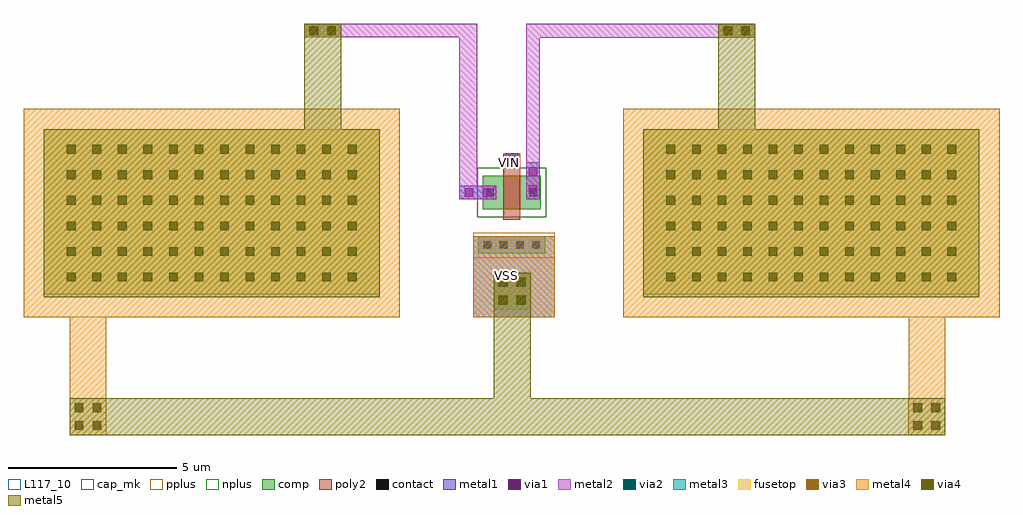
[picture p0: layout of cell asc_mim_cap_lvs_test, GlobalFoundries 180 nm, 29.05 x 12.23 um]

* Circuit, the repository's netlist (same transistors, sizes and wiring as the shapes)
* Extracted by KLayout with GF180MCU LVS runset on : 26/08/2025 02:53

.SUBCKT asc_mim_cap_lvs_test VSS S D VIN
M$1 D VIN S VSS nfet_03v3 L=0.5U W=1U AS=0.61P AD=0.61P PS=3.22U PD=3.22U
C$2 S \$7 1e-13 cap_mim_2f0_m5m6_noshield A=50P P=30U
C$3 D \$8 1e-13 cap_mim_2f0_m5m6_noshield A=50P P=30U
.ENDS asc_mim_cap_lvs_test

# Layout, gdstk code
from math import pi, radians
import gdstk
lib = gdstk.Library(unit=1e-6, precision=5e-09)
def R(c, l, rs):  # rectangles x0, y0, x1, y1
    for r in rs: c.add(gdstk.rectangle(r[:2], r[2:], *l))
def A(c, l, x, y, w, h, nx, ny, dx, dy):  # array of equal rectangles
    R(c, l, [(x+i*dx, y+j*dy, x+i*dx+w, y+j*dy+h) for i in range(nx) for j in range(ny)])
comp = (22, 0)
poly2 = (30, 0)
pplus = (31, 0)
nplus = (32, 0)
contact = (33, 0)
metal1 = (34, 0)
via1 = (35, 0)
metal2 = (36, 0)
via2 = (38, 0)
via3 = (40, 0)
via4 = (41, 0)
metal3 = (42, 0)
metal4 = (46, 0)
fusetop = (75, 0)
metal5 = (81, 0)
cap_mk = (117, 5)
L117_10 = (117, 10)

cap_mim_1 = lib.new_cell('cap_mim$1')
A(cap_mim_1, via4, 0.69, 0.47, 0.26, 0.26, 12, 6, 0.76, 0.76)
R(cap_mim_1, metal4, [(-0.6,-0.6,10.6,5.6)])
R(cap_mim_1, fusetop, [(0,0,10,5)])
R(cap_mim_1, metal5, [(0,0,10,5)])
R(cap_mim_1, cap_mk, [(-0.6,-0.6,10.6,5.6)])
R(cap_mim_1, L117_10, [(0,0,10,0.1)])
cap_mim_1.add(gdstk.Label('S', (5,2.5), layer=81, texttype=10))
cap_mim_1.add(gdstk.Label('VSS', (5,-0.3), layer=46, texttype=10))

cap_mim_2 = lib.new_cell('cap_mim$2')
A(cap_mim_2, via4, 0.69, 0.47, 0.26, 0.26, 12, 6, 0.76, 0.76)
R(cap_mim_2, metal4, [(-0.6,-0.6,10.6,5.6)])
R(cap_mim_2, fusetop, [(0,0,10,5)])
R(cap_mim_2, metal5, [(0,0,10,5)])
R(cap_mim_2, cap_mk, [(-0.6,-0.6,10.6,5.6)])
R(cap_mim_2, L117_10, [(0,0,10,0.1)])
cap_mim_2.add(gdstk.Label('D', (5,2.5), layer=81, texttype=10))
cap_mim_2.add(gdstk.Label('VSS', (5,-0.3), layer=46, texttype=10))

via_dev = lib.new_cell('via_dev')
R(via_dev, comp, [(0,0,2,0.5)])
A(via_dev, contact, 0.17, 0.14, 0.22, 0.22, 4, 1, 0.48, 0)
R(via_dev, metal1, [(0,0,2,0.5)])

nfet = lib.new_cell('nfet')
R(nfet, comp, [(-0.42,0,0,1), (0,0,0.88,1), (0.88,0,1.3,1)])
R(nfet, poly2, [(0.19,-0.3,0.69,1.3), (0.19,1.3,0.69,1.66)])
R(nfet, nplus, [(-0.59,-0.24,1.47,1.24)])
R(nfet, contact, [(-0.32,0.39,-0.1,0.61), (0.98,0.39,1.2,0.61), (0.33,1.37,0.55,1.59)])
R(nfet, metal1, [(-0.4,0.31,-0.02,0.69), (0.9,0.31,1.28,0.69), (0.25,1.29,0.63,1.67)])

via_dev_1 = lib.new_cell('via_dev$1')

via_dev_2 = lib.new_cell('via_dev$2')

via_dev_10 = lib.new_cell('via_dev$10')
R(via_dev_10, metal1, [(0,0,1.1,0.4)])
R(via_dev_10, via1, [(0.155,0.07,0.415,0.33), (0.685,0.07,0.945,0.33)])
R(via_dev_10, metal2, [(0,0,1.1,0.4)])

via_dev_9 = lib.new_cell('via_dev$9')
R(via_dev_9, metal1, [(0,0,1.1,1.1)])
R(via_dev_9, via1, [(0.155,0.155,0.415,0.415), (0.685,0.155,0.945,0.415), (0.155,0.685,0.415,0.945), (0.685,0.685,0.945,0.945)])
R(via_dev_9, metal2, [(0,0,1.1,1.1)])
R(via_dev_9, via2, [(0.155,0.155,0.415,0.415), (0.685,0.155,0.945,0.415), (0.155,0.685,0.415,0.945), (0.685,0.685,0.945,0.945)])
R(via_dev_9, via3, [(0.155,0.155,0.415,0.415), (0.685,0.155,0.945,0.415), (0.155,0.685,0.415,0.945), (0.685,0.685,0.945,0.945)])
R(via_dev_9, via4, [(0.155,0.155,0.415,0.415), (0.685,0.155,0.945,0.415), (0.155,0.685,0.415,0.945), (0.685,0.685,0.945,0.945)])
R(via_dev_9, metal3, [(0,0,1.1,1.1)])
R(via_dev_9, metal4, [(0,0,1.1,1.1)])
R(via_dev_9, metal5, [(0,0,1.1,1.1)])

via_dev_11 = lib.new_cell('via_dev$11')
R(via_dev_11, metal2, [(0,0,1.1,0.4)])
R(via_dev_11, via2, [(0.155,0.07,0.415,0.33), (0.685,0.07,0.945,0.33)])
R(via_dev_11, via3, [(0.155,0.07,0.415,0.33), (0.685,0.07,0.945,0.33)])
R(via_dev_11, via4, [(0.155,0.07,0.415,0.33), (0.685,0.07,0.945,0.33)])
R(via_dev_11, metal3, [(0,0,1.1,0.4)])
R(via_dev_11, metal4, [(0,0,1.1,0.4)])
R(via_dev_11, metal5, [(0,0,1.1,0.4)])

via_dev_8 = lib.new_cell('via_dev$8')
R(via_dev_8, via4, [(0.155,0.155,0.415,0.415), (0.685,0.155,0.945,0.415), (0.155,0.685,0.415,0.945), (0.685,0.685,0.945,0.945)])
R(via_dev_8, metal4, [(0,0,1.1,1.1)])
R(via_dev_8, metal5, [(0,0,1.1,1.1)])

asc_mim_cap_lvs_test = lib.new_cell('asc_mim_cap_lvs_test')
R(asc_mim_cap_lvs_test, pplus, [(0.9,-1.395,3.335,-0.645)])
R(asc_mim_cap_lvs_test, metal1, [(0.9,-3.165,3.33,-0.755), (0.9,-2.255,3.33,-0.755), (0.9,-1.255,1.05,-0.755)])
R(asc_mim_cap_lvs_test, metal2, [(0.495,0.345,1.02,5.565), (2.485,1.455,2.885,5.155), (2.485,5.155,9.29,5.565), (-4.13,5.165,1.02,5.565)])
R(asc_mim_cap_lvs_test, metal4, [(-11.11,-6.67,-10.01,-3.165), (13.86,-6.67,14.95,-3.165), (0.9,-3.165,3.33,-0.755)])
R(asc_mim_cap_lvs_test, metal5, [(-11.11,-6.67,14.95,-5.57), (1.515,-6.67,2.615,-2.94), (-4.13,2.435,-3.03,5.165), (8.19,2.435,9.29,5.165)])
asc_mim_cap_lvs_test.add(gdstk.Reference(cap_mim_1, (-11.88,-2.565)))
asc_mim_cap_lvs_test.add(gdstk.Reference(cap_mim_2, (5.965,-2.565)))
asc_mim_cap_lvs_test.add(gdstk.Reference(via_dev, (1.05,-1.255)))
asc_mim_cap_lvs_test.add(gdstk.Reference(nfet, (1.61,0.045)))
asc_mim_cap_lvs_test.add(gdstk.Reference(via_dev_1, (0.25,-1.845), rotation=pi/2))
asc_mim_cap_lvs_test.add(gdstk.Reference(via_dev_2, (-0.085,-5.385)))
asc_mim_cap_lvs_test.add(gdstk.Reference(via_dev_10, (0.495,0.345)))
asc_mim_cap_lvs_test.add(gdstk.Reference(via_dev_9, (1.515,-2.94)))
asc_mim_cap_lvs_test.add(gdstk.Reference(via_dev_11, (8.19,5.165)))
asc_mim_cap_lvs_test.add(gdstk.Reference(via_dev_8, (-11.11,-6.67)))
asc_mim_cap_lvs_test.add(gdstk.Reference(via_dev_8, (13.85,-6.67)))
asc_mim_cap_lvs_test.add(gdstk.Reference(via_dev_11, (-4.13,5.165)))
asc_mim_cap_lvs_test.add(gdstk.Reference(via_dev_10, (2.885,0.355), rotation=pi/2))
asc_mim_cap_lvs_test.add(gdstk.Label('VSS', (1.88,-1.925), layer=34, texttype=10))
asc_mim_cap_lvs_test.add(gdstk.Label('VIN', (1.985,1.445), layer=34, texttype=10))

lib.write_gds('asc_mim_cap_lvs_test.gds')
